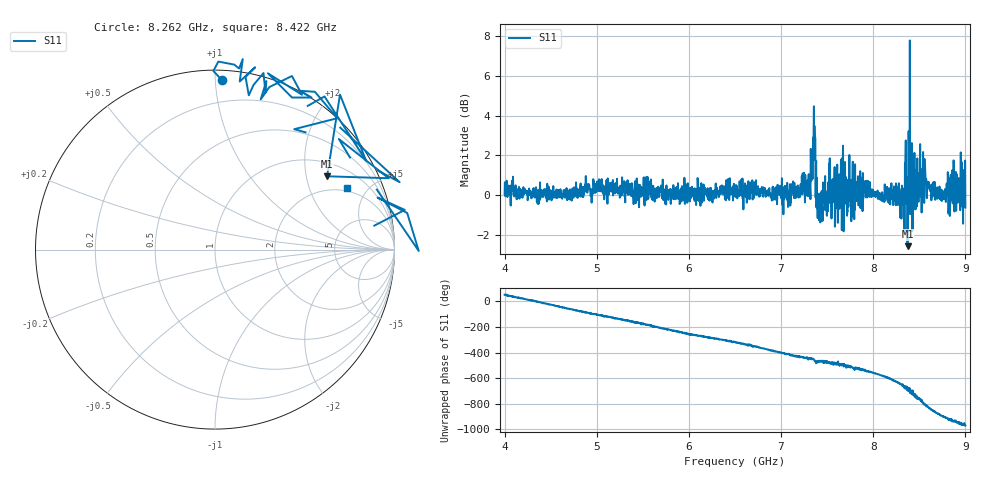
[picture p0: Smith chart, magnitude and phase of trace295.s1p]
! Created with skrf 1.8.0 (http://scikit-rf.org).
# Hz S RI R 50.0
!freq ReS11 ImS11
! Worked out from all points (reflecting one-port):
!   1601 points, 4 GHz to 9 GHz, reference 50 ohm
!   lowest |S11| = -2.5 dB at 8.372 GHz (marker M1), VSWR 6.88, Z = 71.9 + j133 ohm
!   phase of S11 starts at 53 deg and turns -1022 deg over the sweep
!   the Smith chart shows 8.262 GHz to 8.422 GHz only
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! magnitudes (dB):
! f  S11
! 4 GHz  0.1
! 4.625 GHz  -0.2
! 5.25 GHz  -0.1
! 5.875 GHz  0.3
! 6.5 GHz  0.2
! 7.125 GHz  0.2
! 7.294 GHz  0.0
! 7.316 GHz  0.2
! 7.347 GHz  2.9
! 7.369 GHz  2.9
! 7.4 GHz  0.1
! 7.416 GHz  -0.7
! 7.538 GHz  0.5
! 7.609 GHz  1.5
! 7.669 GHz  1.0
! 7.703 GHz  0.9
! 7.75 GHz  -0.3
! 8.253 GHz  -0.3
! 8.316 GHz  -0.1
! 8.331 GHz  0.3
! 8.356 GHz  2.2
! 8.372 GHz  -2.5
! 8.375 GHz  0.4
! 8.447 GHz  2.1
! 8.534 GHz  -0.1
! 8.722 GHz  -0.2
! 8.972 GHz  0.4
! 9 GHz  -0.6
